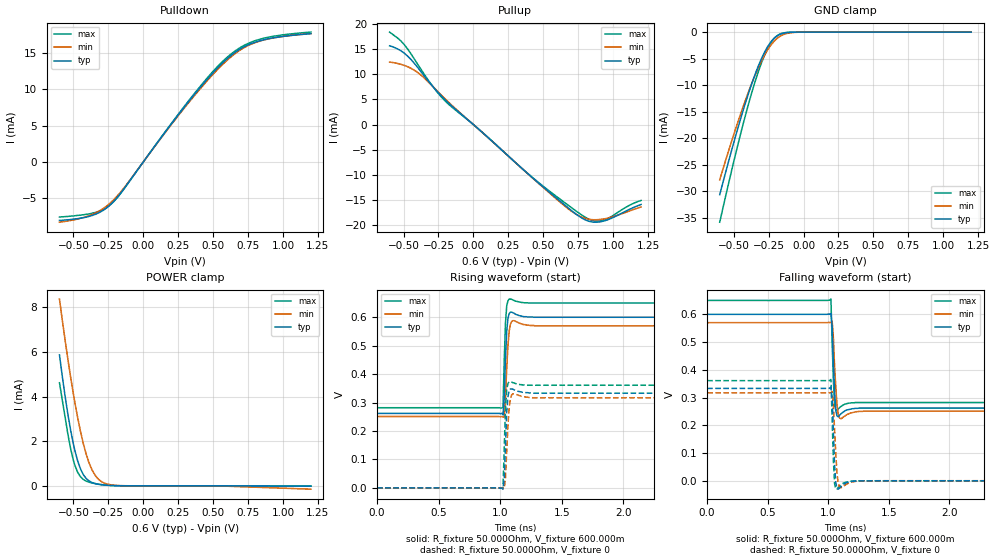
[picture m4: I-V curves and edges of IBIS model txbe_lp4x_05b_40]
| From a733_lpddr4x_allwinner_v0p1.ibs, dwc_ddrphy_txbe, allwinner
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[Model] txbe_lp4x_05b_40
Model_type   I/O
Polarity   Non-Inverting
Enable   Active-High
C_comp   1.525pF   1.517pF   1.533pF
C_comp_pullup   282.426fF   275.466fF   284.310fF
C_comp_pulldown 1.185pF   1.182pF   1.189pF
Vinh = 360.000mV
Vinl = 307.000mV
Vmeas = 300.000mV
Vref = 300.000mV
Rref = 50Ohms
Cref = 0pF
[Model Spec]
Vinh   360.000mV   345.000mV   450.000mV
Vinl   307.000mV   293.000mV   330.000mV
Vmeas   300.000mV   285.000mV   325.000mV
Vref   300.000mV   285.000mV   325.000mV
D_overshoot_ampl_h 0.1 NA   NA
D_overshoot_ampl_l 0.1 NA   NA
D_overshoot_area_l 300.000m NA   NA
D_overshoot_area_h 300.000m NA   NA
[Receiver Thresholds]
Vth = 163.000mV
Vth_min = 143.000mV
Vth_max = 150.000mV
Vinh_ac = 60.000mV
Vinh_dc = 60.000mV
Vinl_ac = -60.000mV
Vinl_dc = -60.000mV
Tslew_ac = 5.000ns
Threshold_sensitivity = 0.5
Reference_supply Pullup_ref
[Temperature Range]   25.000   125.000   -40.000
[Voltage Range]   600.000mV   570.000mV   650.000mV
[GND Clamp Reference]   0.00V   0.00V   0.00V
[C Comp Corner]
| variable   typ   min   max
C_comp 1.525pF   1.533pF   1.517pF
C_comp_pullup 282.426fF   284.310fF   275.466fF
C_comp_pulldown 1.182pF   1.189pF   1.185pF
[Pulldown Reference]   0.00V   0.00V   0.00V
[POWER Clamp Reference]   600.000mV   570.000mV   650.000mV
[Pullup Reference]   600.000mV   570.000mV   650.000mV
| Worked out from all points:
|   slope of the pulldown table from 0 to 0.09 V, typ, clamps not added: 37.9 ohm
|   slope of the pullup table from 0 to 0.09 V, typ, clamps not added: 40.9 ohm
|   GND clamp passes 1 mA (typ) near -0.20 V on its own axis
|   POWER clamp passes 1 mA (typ) near -0.46 V on its own axis
|   rising waveform, R_fixture 50.000Ohm, V_fixture 600.000m: 20-80 % time 17.4ps typ, 21.9ps min, 15.4ps max; typ from 0.262 V to 0.6 V
|   rising waveform, R_fixture 50.000Ohm, V_fixture 0: 20-80 % time 17.2ps typ, 22.4ps min, 16.4ps max; typ from 0 V to 0.333 V
|   falling waveform, R_fixture 50.000Ohm, V_fixture 600.000m: 20-80 % time 17.3ps typ, 22.6ps min, 16ps max; typ from 0.6 V to 0.262 V
|   falling waveform, R_fixture 50.000Ohm, V_fixture 0: 20-80 % time 16.8ps typ, 22.6ps min, 15.1ps max; typ from 0.333 V to 0 V
[GND Clamp]
-600mV    -30.61mA   -27.8mA    -35.78mA
-520mV    -22.73mA   -20.97mA   -26.64mA
-450mV    -16.28mA   -15.37mA   -19.1mA
-390mV    -11.21mA   -10.96mA   -13.16mA
-350mV    -8.181mA   -8.298mA   -9.582mA
-300mV    -4.923mA   -5.382mA   -5.708mA
-260mV    -2.864mA   -3.463mA   -3.244mA
-230mV    -1.706mA   -2.312mA   -1.856mA
-190mV    -705.6uA   -1.194mA   -684.3uA
-130mV    -123.8uA   -327.5uA   -84.42uA
-40mV     -3.823uA   -18.15uA   -1.471uA
1.2V      1.202uA    9.468uA    355.6nA
[Power Clamp]
-600mV    5.867mA    8.37mA     4.619mA
-560mV    4.027mA    6.539mA    3.087mA
-520mV    2.489mA    4.867mA    1.655mA
-500mV    1.861mA    4.102mA    1.131mA
-470mV    1.12mA     3.062mA    608.9uA
-430mV    508.3uA    1.908mA    287uA
-390mV    225.6uA    1.059mA    165.6uA
-340mV    92.46uA    430uA      93.34uA
-300mV    48.11uA    190.2uA    55.9uA
-170mV    2.644uA    10.51uA    3.018uA
530mV     -286.1nA   -4.802uA   -57.47nA
1.2V      -18.54uA   -150.4uA   -4.334uA
[Pulldown]
-600mV    -8.04mA    -8.28mA    -7.58mA
-370mV    -7.382mA   -7.249mA   -7.06mA
-300mV    -6.797mA   -6.57mA    -6.639mA
-230mV    -5.781mA   -5.537mA   -5.78mA
-150mV    -3.983mA   -3.852mA   -4.03mA
160mV     4.184mA    4.111mA    4.235mA
380mV     9.602mA    9.432mA    9.742mA
530mV     12.89mA    12.66mA    13.08mA
650mV     14.96mA    14.78mA    15.15mA
750mV     16.09mA    15.99mA    16.28mA
850mV     16.73mA    16.7mA     16.94mA
1.2V      17.63mA    17.64mA    17.85mA
[Pullup]
-600mV    15.63mA    12.41mA    18.36mA
-500mV    14.28mA    11.8mA     16.03mA
-410mV    11.72mA    10.55mA    12.46mA
-280mV    7.214mA    7.272mA    7.178mA
-190mV    4.589mA    4.769mA    4.36mA
400mV     -9.995mA   -10.02mA   -9.953mA
570mV     -14.02mA   -14.19mA   -13.75mA
700mV     -17.01mA   -17.15mA   -16.44mA
770mV     -18.44mA   -18.3mA    -17.83mA
840mV     -19.27mA   -18.84mA   -18.92mA
920mV     -19.22mA   -18.78mA   -19.06mA
1.2V      -15.85mA   -16.35mA   -15.05mA
[Ramp]
R_load=50.000Ohm
dV/dt_r   201.292mV/18.000ps  190.727mV/22.500ps  218.698mV/15.500ps
dV/dt_f   201.291mV/18.500ps  190.727mV/24.000ps  218.698mV/15.500ps
[Rising waveform]
R_fixture=50.000Ohm
V_fixture=600.000m
V_fixture_min=570.000m
V_fixture_max=650.000m
0s        262mV      251mV      282mV
1.013ns   262mV      251mV      281mV
1.023ns   257mV      249mV      285mV
1.033ns   319mV      249mV      449mV
1.043ns   456mV      320mV      580mV
1.053ns   550mV      419mV      639mV
1.073ns   613mV      551mV      664mV
1.103ns   616mV      588mV      661mV
1.283ns   600mV      570mV      650mV
10ns      600mV      570mV      650mV
[Rising waveform]
R_fixture=50.000Ohm
V_fixture=0
0s        27.75uV    243.8uV    6.568uV
1.023ns   -4.416mV   -2.114mV   1.402mV
1.033ns   33.09mV    -2.049mV   134mV
1.043ns   155mV      35.53mV    277mV
1.053ns   267mV      123mV      345mV
1.063ns   321mV      218mV      367mV
1.073ns   342mV      282mV      373mV
1.083ns   348mV      314mV      374mV
1.103ns   347mV      331mV      370mV
10ns      333mV      317mV      361mV
[Falling waveform]
R_fixture=50.000Ohm
V_fixture=600.000m
V_fixture_min=570.000m
V_fixture_max=650.000m
0s        600mV      570mV      650mV
1.023ns   604mV      571mV      655mV
1.033ns   557mV      575mV      498mV
1.043ns   427mV      518mV      365mV
1.053ns   321mV      414mV      276mV
1.063ns   255mV      339mV      255mV
1.083ns   231mV      240mV      259mV
1.103ns   240mV      224mV      267mV
1.293ns   262mV      251mV      282mV
10ns      262mV      251mV      282mV
[Falling waveform]
R_fixture=50.000Ohm
V_fixture=0
0s        333mV      317mV      361mV
1.023ns   338mV      318mV      365mV
1.033ns   297mV      322mV      225mV
1.043ns   174mV      274mV      77.08mV
1.053ns   58.18mV    186mV      -10.14mV
1.063ns   -7.493mV   98.25mV    -29.85mV
1.083ns   -30.23mV   -7.918mV   -24.58mV
1.103ns   -22.12mV   -25.32mV   -15.26mV
1.353ns   -94.68uV   162.7uV    -61.13uV
10ns      30.38uV    244.2uV    7.909uV
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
